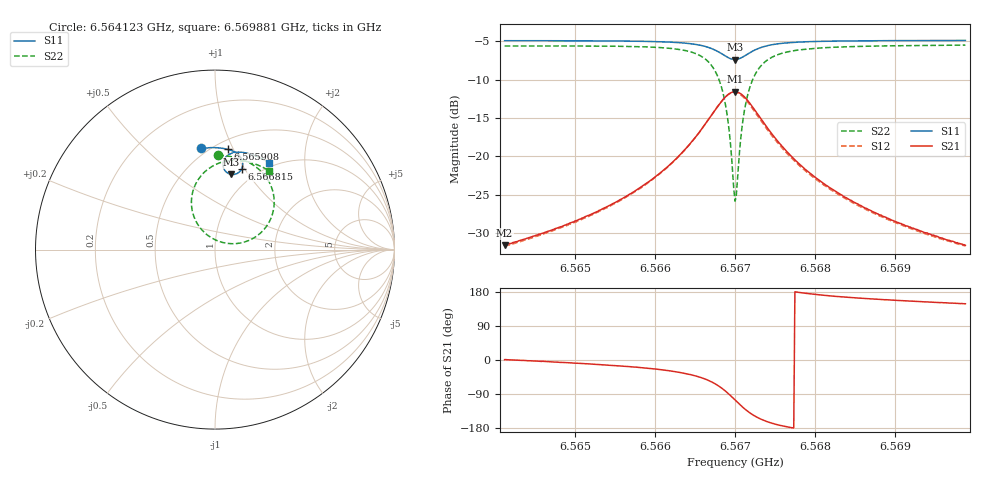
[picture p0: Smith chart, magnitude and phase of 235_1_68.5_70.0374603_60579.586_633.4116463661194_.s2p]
#  HZ  S  RI  R  50.00
! Rohde & Schwarz Vector Network Analyzer
! Rohde-Schwarz,ZNB20-2Port,1311601062101988,3.16
! Created: UTC 3/20/2024, 4:59:06 PM
! freq[Hz]  re:S11  im:S11  re:S21  im:S21  re:S12  im:S12  re:S22  im:S22
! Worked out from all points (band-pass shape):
!   401 points, 6.564123 GHz to 6.569881 GHz, reference 50 ohm
!   highest |S21| = -11.56 dB at 6.567002 GHz (marker M1); lowest = -31.6 dB at 6.564123 GHz (marker M2)
!   |S21| within 3 dB of the highest: 6.566713 GHz to 6.56729 GHz (576.6 kHz wide, 0.00878 % of centre)
!   lowest |S11| = -7.4 dB at 6.567002 GHz (marker M3), VSWR 2.50, Z = 40.5 + j41.6 ohm
!   |S11| at or under -10 dB: nowhere
!   |S22| runs from -25.8 to -5.5 dB; largest |S21 - S12| = 0.012
!   S11 on the Smith chart (normalised r, x): 6.564123 GHz: 0.46, +0.76; 6.565908 GHz: 0.58, +0.95; 6.566815 GHz: 0.84, +0.97; 6.569881 GHz: 0.93, +1.34
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6.5641229e9  -0.0806 0.5634  0.0263 0.000419  0.026 -7.28e-05  0.0183 0.5249
6.5650873e9  -0.00264 0.568  0.0391 -0.0064  0.0383 -0.00684  0.1069 0.5143
6.5659078e9  0.0719 0.5584  0.0627 -0.0252  0.0618 -0.0257  0.2064 0.4752
6.5660517e9  0.0864 0.5538  0.0697 -0.0325  0.0687 -0.0333  0.2293 0.4599
6.5663684e9  0.1215 0.5356  0.09 -0.063  0.0884 -0.0643  0.2877 0.3995
6.5665843e9  0.146 0.5087  0.1029 -0.1097  0.1007 -0.1121  0.3256 0.309
6.5667138e9  0.1546 0.4803  0.0985 -0.1593  0.0945 -0.1624  0.3244 0.2145
6.5668146e9  0.1493 0.4509  0.0722 -0.2099  0.0657 -0.2128  0.279 0.1194
6.566901e9  0.1287 0.427  0.02 -0.249  0.0104 -0.2496  0.1841 0.0491
6.5669298e9  0.1182 0.4217  -0.00388 -0.2566  -0.0143 -0.2558  0.1412 0.0365
6.5669873e9  0.0939 0.4187  -0.0569 -0.258  -0.0677 -0.2534  0.0469 0.0387
6.5670017e9  0.0875 0.4196  -0.0701 -0.2549  -0.0807 -0.2495  0.0237 0.0452
6.5670305e9  0.0756 0.4237  -0.0956 -0.245  -0.1054 -0.2378  -0.0196 0.0656
6.5670881e9  0.0566 0.4387  -0.1369 -0.2132  -0.1435 -0.2034  -0.0867 0.1267
6.5671313e9  0.0481 0.4535  -0.1567 -0.1833  -0.161 -0.1728  -0.1165 0.1812
6.5671889e9  0.0443 0.4737  -0.1694 -0.1433  -0.1706 -0.1334  -0.1312 0.2524
6.5672608e9  0.0482 0.4955  -0.1691 -0.1006  -0.168 -0.0923  -0.1228 0.3265
6.5675199e9  0.0873 0.5345  -0.1268 -0.0218  -0.124 -0.0184  -0.0267 0.4569
6.5679661e9  0.1456 0.5425  -0.0754 0.00791  -0.0736 0.00917  0.0939 0.4971
6.5683836e9  0.187 0.5351  -0.0524 0.0131  -0.0512 0.0137  0.1612 0.4935
6.5689305e9  0.2327 0.5198  -0.0364 0.0144  -0.0356 0.0146  0.2233 0.477
6.5698806e9  0.3016 0.485  -0.0224 0.0138  -0.022 0.0139  0.303 0.4383
